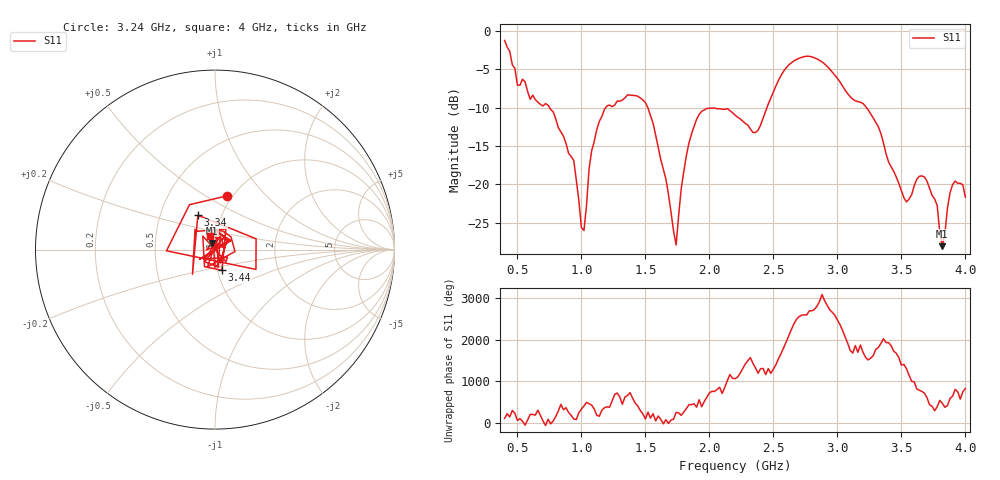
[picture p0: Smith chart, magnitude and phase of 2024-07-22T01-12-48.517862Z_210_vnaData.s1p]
!Created with skrf (http://scikit-rf.org).
# Hz S RI R 50.0
!freq ReS11 ImS11
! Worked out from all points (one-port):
!   181 points, 400 MHz to 4 GHz, reference 50 ohm
!   lowest |S11| = -28.0 dB at 3.82 GHz (marker M1), VSWR 1.08, Z = 48.4 + j3.55 ohm
!   |S11| at or under -10 dB: 750.9 MHz to 1.191 GHz (439.9 MHz wide, 45.3 % of centre); 1.518 GHz to 2.45 GHz (931.1 MHz wide, 46.9 % of centre); 3.227 GHz to end of sweep
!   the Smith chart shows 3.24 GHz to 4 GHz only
!   S11 on the Smith chart (normalised r, x): 3.24 GHz: 0.94, +0.62; 3.34 GHz: 0.77, +0.31; 3.44 GHz: 1.05, -0.25; 4 GHz: 0.94, +0.15
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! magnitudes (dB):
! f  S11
! 400 MHz  -1.3
! 500 MHz  -7.1
! 860 MHz  -13.7
! 940 MHz  -16.9
! 1.02 GHz  -26.0
! 1.06 GHz  -18.0
! 1.12 GHz  -12.9
! 1.3 GHz  -9.2
! 1.5 GHz  -9.4
! 1.66 GHz  -19.3
! 1.74 GHz  -27.9
! 1.76 GHz  -24.0
! 1.82 GHz  -16.3
! 1.92 GHz  -10.9
! 2.2 GHz  -11.0
! 2.38 GHz  -13.0
! 2.66 GHz  -3.9
! 2.88 GHz  -4.1
! 3.1 GHz  -8.6
! 3.24 GHz  -10.3
! 3.34 GHz  -13.4
! 3.44 GHz  -18.3
! 3.56 GHz  -21.9
! 3.68 GHz  -19.0
! 3.78 GHz  -22.8
! 3.82 GHz  -28.0
! 3.9 GHz  -20.0
! 4 GHz  -21.7
